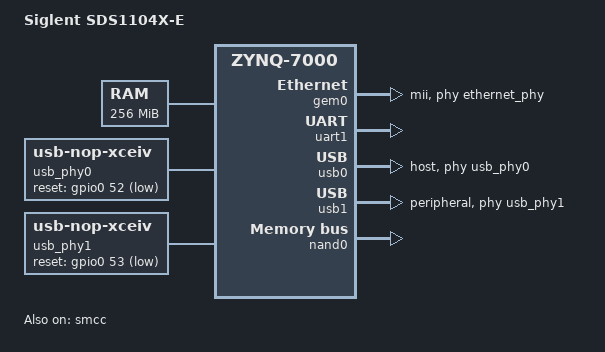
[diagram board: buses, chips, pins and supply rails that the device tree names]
/dts-v1/;
/include/ "zynq-7000.dtsi"

/ {
    model = "Siglent SDS1104X-E";
    compatible = "xlnx,zynq-sds1104xe", "xlnx,zynq-7000";

    aliases {
        ethernet0 = &gem0;
        serial0 = &uart1;
    };

    memory {
        device_type = "memory";
        reg = <0x0 0x10000000>;
    };

    chosen {
        bootargs = "console=ttyPS0,115200 earlycon";
        stdout-path = "serial0:115200n8";
    };

    usb_phy0: phy0 {
        compatible = "usb-nop-xceiv";
        #phy-cells = <0>;
        reset-gpios = <&gpio0 52 1>;
        //FIXME: add this and wire up the VBUS enable GPIO
        //vbus-regulator = <&vbus_regulator>;
        //FIXME: overcurrent detection?
    };

    usb_phy1: phy1 {
        compatible = "usb-nop-xceiv";
        #phy-cells = <0>;
        reset-gpios = <&gpio0 53 1>;
    };
};

&clkc {
    ps-clk-frequency = <33333333>;
};

&gem0 {
    status = "okay";
    phy-mode = "mii";
    phy-handle = <&ethernet_phy>;
    xlnx,emio;

    ethernet_phy: ethernet-phy@0x1f {
    };
};

&uart1 {
    status = "okay";
    u-boot,dm-pre-reloc;
};

&usb0 {
    status = "okay";
    dr_mode = "host";
    usb-phy = <&usb_phy0>;
    //pinctrl-names = "default";
    //pinctrl-0 = <&pinctrl_usb0_default>;
};

&usb1 {
    status = "okay";
    dr_mode = "peripheral";
    usb-phy = <&usb_phy1>;
    //pinctrl-names = "default";
    //pinctrl-0 = <&pinctrl_usb1_default>;
};

//FIXME: original device tree has SPI1 enabled
//All the signal path devices are connected to this
//Siglent uses a custom driver, most likely for all the Latch, CS etc. lines
//&spi0 {
//    status = "okay"
//};

//FIXME: original device tree has SPI1 enabled
//Most likely the frontpanel LEDs are connected to this
//Needs to be confirmed by looking at the scope app binary
//&spi1 {
//    status = "okay"
//};

//FIXME: SDHCI0 is enabled in original device tree
//&sdhci0 {
//    status = "okay";
//};

&smcc {
    status = "okay";
    u-boot,dm-pre-reloc;
};

&nand0 {
    status = "okay";

    arm,nand-cycle-t0 = <0x5>;
    arm,nand-cycle-t1 = <0x5>;
    arm,nand-cycle-t2 = <0x2>;
    arm,nand-cycle-t3 = <0x3>;
    arm,nand-cycle-t4 = <0x1>;
    arm,nand-cycle-t5 = <0x2>;
    arm,nand-cycle-t6 = <0x2>;

    partition@nand-fsbl {
        label = "fsbl";
        reg = <0x0 0x780000>;
    };
    partition@nand-linux {
        label = "kerneldata";
        reg = <0x780000 0x400000>;
    };
    partition@nand-device-tree {
        label = "device-tree";
        reg = <0xb80000 0x80000>;
    };
    partition@nand-manufacturedata {
        label = "Manufacturedata";
        reg = <0xc00000 0x500000>;
    };
    partition@nand-reserved1 {
        label = "reserved1";
        reg = <0x1100000 0x500000>;
    };
    partition@nand-rootfs {
        label = "rootfs";
        reg = <0x1600000 0x2800000>;
    };
    partition@nand-firmdata0 {
        label = "firmdata0";
        reg = <0x3e00000 0xa00000>;
    };
    partition@nand-siglent {
        label = "siglent";
        reg = <0x4800000 0x2800000>;
    };
    partition@nand-datafs {
        label = "datafs";
        reg = <0x7000000 0x6400000>;
    };
    partition@nand-upgrade_cramdisk {
        label = "upgrade_cramdisk";
        reg = <0xd400000 0x2800000>;
    };
    partition@nand-reserved2 {
        label = "reserved2";
        reg = <0xfc00000 0x400000>;
    };
};

//FIXME: configure pinctrl correctly
//&pinctrl0 {
//    pinctrl_usb0_default: usb0-default {
//        mux {
//            groups = "usb0_0_grp";
//            function = "usb0";
//        };
//
//        conf {
//            groups = "usb0_0_grp";
//            slew-rate = <0>;
//            io-standard = <1>;
//        };
//
//        conf-rx {
//            pins = "MIO29", "MIO31", "MIO36";
//            bias-high-impedance;
//        };
//
//        conf-tx {
//            pins = "MIO28", "MIO30", "MIO32", "MIO33", "MIO34",
//                   "MIO35", "MIO37", "MIO38", "MIO39";
//            bias-disable;
//        };
//    };
//};
